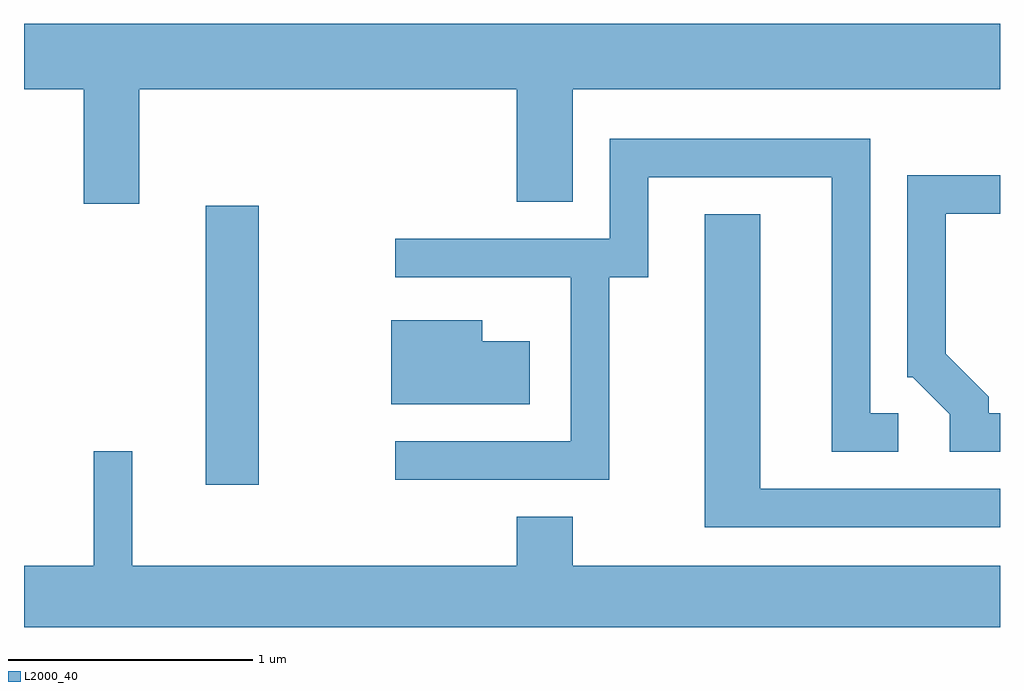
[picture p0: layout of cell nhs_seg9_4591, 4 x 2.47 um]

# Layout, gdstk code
import gdstk
lib = gdstk.Library(unit=1e-6, precision=1e-09)
def R(c, l, rs):  # rectangles x0, y0, x1, y1
    for r in rs: c.add(gdstk.rectangle(r[:2], r[2:], *l))
def P(c, l, *ps):  # polygons
    for p in ps: c.add(gdstk.Polygon(p, *l))
L2000_40 = (2000, 40)

nhs_seg9_4591 = lib.new_cell('nhs_seg9_4591')
R(nhs_seg9_4591, L2000_40, [(320.356,2059.016,320.574,2060.159)])
P(nhs_seg9_4591, L2000_40, [(320.084,2060.636),(321.631,2060.636),(321.631,2060.176),(321.859,2060.176),(321.859,2060.636),(323.611,2060.636),(323.611,2060.904),(319.611,2060.904),(319.611,2060.636),(319.856,2060.636),(319.856,2060.166),(320.084,2060.166)],
  [(322.009,2059.866),(322.169,2059.866),(322.169,2060.276),(322.921,2060.276),(322.921,2059.151),(323.193,2059.151),(323.193,2059.309),(323.079,2059.309),(323.079,2060.434),(322.011,2060.434),(322.011,2060.024),(321.133,2060.024),(321.133,2059.866),(321.851,2059.866),(321.851,2059.194),(321.133,2059.194),(321.133,2059.036),(322.009,2059.036)],
  [(323.611,2059.309),(323.564,2059.309),(323.564,2059.376),(323.389,2059.552),(323.389,2060.126),(323.611,2060.126),(323.611,2060.284),(323.231,2060.284),(323.231,2059.456),(323.254,2059.456),(323.406,2059.304),(323.406,2059.151),(323.611,2059.151)],
  [(323.611,2058.999),(322.629,2058.999),(322.629,2060.124),(322.401,2060.124),(322.401,2058.841),(323.611,2058.841)],
  [(321.684,2059.604),(321.489,2059.604),(321.489,2059.689),(321.116,2059.689),(321.116,2059.346),(321.684,2059.346)],
  [(323.611,2058.684),(321.859,2058.684),(321.859,2058.884),(321.631,2058.884),(321.631,2058.684),(320.054,2058.684),(320.054,2059.153),(319.896,2059.153),(319.896,2058.684),(319.611,2058.684),(319.611,2058.432),(323.611,2058.432)])

lib.write_gds('nhs_seg9_4591.gds')
